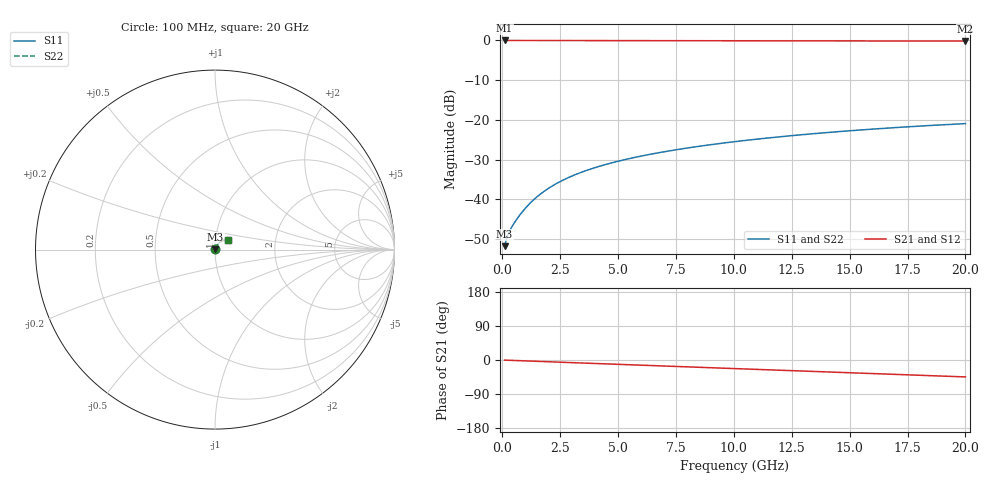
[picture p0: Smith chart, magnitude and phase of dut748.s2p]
! Touchstone file exported from HFSS 2026.1.0
!  File:  C:/ffzhzh/LocalFiles/Ansys_Project_Files/temp_train_BSMRDL_748_1783168812_55132.aedt
!  Generated:  08:41:20 PM Jul  4, 2026
!  Design:  BSMRDL
!  Project:  temp_train_BSMRDL_748_1783168812_55132
! Variables:
!  h_bsmrdl = 5.05um
!  h_ox = 20um
!  h_rdl = 5um
!  h_sub = 80um
!  h_tmrdl = 5um
!  h_tsv = 80um
!  h_via = 3um
!  l_bsmrdl = 787.99um
!  l_sub = 1187.99um
!  l_tmrdl = 200um
!  m_sub = 200um
!  pitch = 36.24um
!  r_tsv = 6um
!  s_tmrdl = 10um
!  w_bsmrdl = 28.14um
!  w_sub = 500um
!  w_tmrdl = 12um
!  x_tsv_center1 = 206um
!  x_tsv_center2 = 1022.13um
!  x_tsv_center3 = 1234.13um
!  x_tsv_center4 = 2050.26um
!  x_tsv_center5 = 2262.26um
!  x_tsv_center6 = 3078.39um
# GHz S MA R 50.000000
! Terminal data exported
! Port[1] = BSM_RDL1_1_T1
! Port[2] = BSM_RDL1_1_T2
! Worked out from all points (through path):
!   200 points, 100 MHz to 20 GHz, reference 50 ohm
!   highest |S21| = -0.02 dB at 100 MHz (marker M1); lowest = -0.2 dB at 20 GHz (marker M2)
!   group delay of S21, straight-line fit = 6.18 ps
!   lowest |S11| = -51.7 dB at 100 MHz (marker M3), VSWR 1.01, Z = 50.2 + j0.116 ohm
!   |S11| at or under -10 dB: start of sweep to end of sweep
!   |S22| runs from -51.7 to -20.9 dB; largest |S21 - S12| = 5.2e-15
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0.1  0.002587 26.5  0.9977 -0.3  0.9977 -0.3  0.002587 26.5
! Gamma 0 0 0 0
! Port Impedance 50 0 50 0
0.2  0.003332 35.7  0.9973 -0.5  0.9973 -0.5  0.003332 35.7
0.3  0.003928 40.7  0.9971 -0.7  0.9971 -0.7  0.003928 40.7
0.5  0.004973 48.5  0.9968 -1.2  0.9968 -1.2  0.004973 48.5
0.7  0.006052 54.4  0.9966 -1.7  0.9966 -1.7  0.006052 54.4
0.9  0.007194 58.6  0.9965 -2.1  0.9965 -2.1  0.007194 58.6
1.1  0.008379 61.5  0.9963 -2.6  0.9963 -2.6  0.008378 61.5
1.3  0.009586 63.4  0.9961 -3.0  0.9961 -3.0  0.009586 63.4
1.5  0.0108 64.8  0.9959 -3.5  0.9959 -3.5  0.0108 64.8
1.8  0.01263 66.0  0.9956 -4.2  0.9956 -4.2  0.01263 66.0
2.3  0.01562 66.7  0.9951 -5.3  0.9951 -5.3  0.01562 66.7
2.9  0.0191 66.6  0.9944 -6.7  0.9944 -6.7  0.0191 66.6
3.5  0.02243 66.0  0.9936 -8.1  0.9936 -8.1  0.02243 66.0
4.2  0.02616 65.0  0.9928 -9.7  0.9928 -9.7  0.02616 65.0
5  0.03024 63.8  0.9918 -11.5  0.9918 -11.5  0.03024 63.8
5.9  0.03465 62.3  0.9908 -13.5  0.9908 -13.5  0.03464 62.3
6.8  0.03891 60.7  0.9899 -15.5  0.9899 -15.5  0.0389 60.8
8.3  0.04574 58.1  0.9886 -18.8  0.9886 -18.8  0.04572 58.2
10.1  0.05357 54.9  0.987 -22.8  0.987 -22.8  0.05354 55.0
13.4  0.067 48.8  0.9845 -30.1  0.9845 -30.1  0.06695 48.9
16.7  0.07915 42.4  0.9821 -37.4  0.9821 -37.4  0.07908 42.5
20  0.08986 35.8  0.9799 -44.7  0.9799 -44.7  0.08976 36.0
